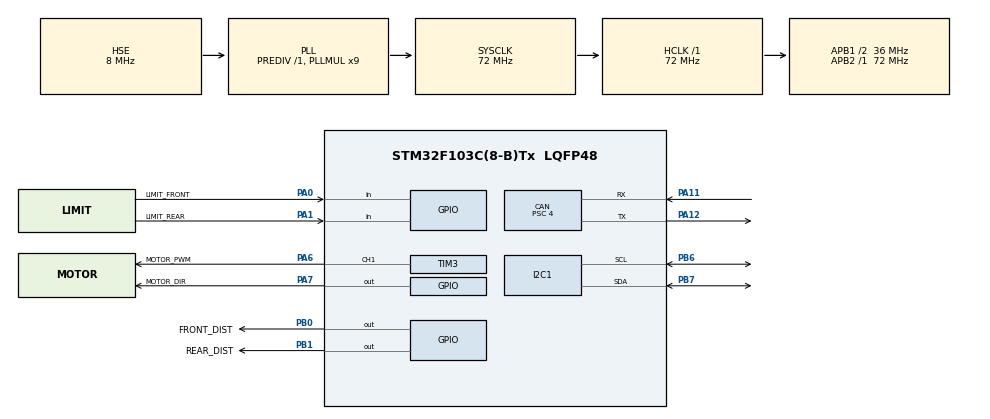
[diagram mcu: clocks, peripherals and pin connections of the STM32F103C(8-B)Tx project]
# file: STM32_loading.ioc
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CAN.BS1=CAN_BS1_13TQ
CAN.BS2=CAN_BS2_4TQ
CAN.CalculateBaudRate=500000
CAN.CalculateTimeBit=2000
CAN.CalculateTimeQuantum=111.11111111111111
CAN.Prescaler=4
I2C1.I2C_Mode=I2C_Fast
Mcu.Family=STM32F1
Mcu.Name=STM32F103C(8-B)Tx
Mcu.Package=LQFP48
NVIC.CAN1_RX1_IRQn=true\:0\:0\:false\:false\:true\:true\:true\:true
NVIC.PriorityGroup=NVIC_PRIORITYGROUP_4
PA0-WKUP.GPIO_Label=LIMIT_FRONT
PA0-WKUP.GPIO_PuPd=GPIO_PULLUP
PA0-WKUP.Signal=GPIO_Input
PA1.GPIO_Label=LIMIT_REAR
PA1.GPIO_PuPd=GPIO_PULLUP
PA1.Signal=GPIO_Input
PA11.Mode=CAN_Activate
PA11.Signal=CAN_RX
PA12.Mode=CAN_Activate
PA12.Signal=CAN_TX
PA13.Mode=Serial_Wire
PA13.Signal=SYS_JTMS-SWDIO
PA14.Mode=Serial_Wire
PA14.Signal=SYS_JTCK-SWCLK
PA6.GPIO_Label=MOTOR_PWM
PA6.Signal=S_TIM3_CH1
PA7.GPIO_Label=MOTOR_DIR
PA7.Signal=GPIO_Output
PB0.GPIO_Label=FRONT_DIST
PB0.Signal=GPIO_Output
PB1.GPIO_Label=REAR_DIST
PB1.Signal=GPIO_Output
PB6.Mode=I2C
PB6.Signal=I2C1_SCL
PB7.Mode=I2C
PB7.Signal=I2C1_SDA
PD0-OSC_IN.Mode=HSE-External-Oscillator
PD0-OSC_IN.Signal=RCC_OSC_IN
PD1-OSC_OUT.Mode=HSE-External-Oscillator
PD1-OSC_OUT.Signal=RCC_OSC_OUT
ProjectManager.HeapSize=0x200
ProjectManager.StackSize=0x400
ProjectManager.TargetToolchain=STM32CubeIDE
RCC.AHBFreq_Value=72000000
RCC.APB1CLKDivider=RCC_HCLK_DIV2
RCC.APB1Freq_Value=36000000
RCC.APB1TimFreq_Value=72000000
RCC.APB2Freq_Value=72000000
RCC.APB2TimFreq_Value=72000000
RCC.DATA_CACHE_ENABLE=1
RCC.HCLKFreq_Value=72000000
RCC.INSTRUCTION_CACHE_ENABLE=1
RCC.PLLMUL=RCC_PLL_MUL9
RCC.PLLSourceVirtual=RCC_PLLSOURCE_HSE
RCC.PWR_Regulator_Voltage_Scale=PWR_REGULATOR_VOLTAGE_SCALE1
RCC.SYSCLKFreq_VALUE=72000000
RCC.SYSCLKSource=RCC_SYSCLKSOURCE_PLLCLK
RCC.USBFreq_Value=72000000
SH.S_TIM3_CH1.0=TIM3_CH1,PWM Generation1 CH1
TIM3.Channel-PWM\ Generation1\ CH1=TIM_CHANNEL_1
TIM3.Period=999
TIM3.Prescaler=71
board=custom

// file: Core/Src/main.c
/* USER CODE BEGIN Header */
/**
  ******************************************************************************
  * @file           : main.c
  * @brief          : Main program body
  ******************************************************************************
  * @attention
  *
  * Copyright (c) 2025 STMicroelectronics.
  * All rights reserved.
  *
  * This software is licensed under terms that can be found in the LICENSE file
  * in the root directory of this software component.
  * If no LICENSE file comes with this software, it is provided AS-IS.
  *
  ******************************************************************************
  */
/* USER CODE END Header */
#include "main.h"

/* USER CODE BEGIN Includes */
#include <string.h>
#include <stdio.h>
#include <math.h>

// VL53L0X ST API (your folder structure)
#include "vl53l0x_api.h"
#include "vl53l0x_platform.h"
/* USER CODE END Includes */

CAN_HandleTypeDef hcan;

I2C_HandleTypeDef hi2c1;

TIM_HandleTypeDef htim3;

/* USER CODE BEGIN PV */
/* =========================
 * User configurable defines
 * ========================= */

// ---- CAN IDs (example) ----
// STM32_main  -> STM32_loading : command
#define CAN_ID_CMD_STD        (0x201)

// Optional: STM32_loading -> STM32_main : status (if you want)
#define CAN_ID_STATUS_STD     (0x202)

// ---- VL53L0X I2C addresses ----
// ST API often uses 8-bit address (7-bit << 1).
// Default is commonly 0x52 (0x29<<1).
#define VL53L0X_ADDR_DEFAULT_8BIT   (0x52)
#define VL53L0X_ADDR_FRONT_8BIT     (0x30 << 1)   // 0x60
#define VL53L0X_ADDR_REAR_8BIT      (0x31 << 1)   // 0x62

// ---- Loader parameters (from your Arduino code) ----
static const int   DIST_THRESHOLD_CM        = 5;
static const float LOAD_PUSH_CM_12          = 6.0f;
static const float UNLOAD_PUSH_CM_3         = 5.5f;
static const float UNLOAD_PUSH_CM_2         = 8.7f;
static const float PUSH_DELTA_TOL_CM        = 0.3f;
static const uint32_t MAX_PUSH_TIME_MS      = 4000U;
static const uint32_t ACTION_COOLDOWN_MS    = 200U;
static const uint32_t LIMIT_DEBOUNCE_MS     = 20U;
static uint32_t boxDetectStartTick = 0;
static uint8_t isWaitingBox = 0;

// PWM speed (0~255 like Arduino)
static const uint8_t MOTOR_SPEED_FWD = 250;
static const uint8_t MOTOR_SPEED_REV = 180;

// ---- Active level ----
#define LIMIT_ACTIVE_STATE    (0)   // Active LOW

// ---- XSHUT pins (you named XSHUT as DIST pins) ----
#define XSHUT_FRONT_GPIO_Port   FRONT_DIST_GPIO_Port
#define XSHUT_FRONT_Pin         FRONT_DIST_Pin
#define XSHUT_REAR_GPIO_Port    REAR_DIST_GPIO_Port
#define XSHUT_REAR_Pin          REAR_DIST_Pin

/* =========================
 * State machine types
 * ========================= */
typedef enum {
  MODE_NONE      = 0,
  MODE_LOADING   = 1,
  MODE_UNLOADING = 2
} WorkMode;

typedef enum {
  ST_IDLE = 0,
  ST_HOME_BACK,
  ST_WAIT_READY,
  ST_MOVE_FWD,
  ST_MOVE_REV,
  ST_COMPLETE
} MotionState;

typedef enum {
  HC_IDLE    = 0,   // 0: go home(rear limit) & idle
  HC_LOADING = 1    // 1: auto loading
} HighCmdMode;

typedef enum {
  PUSH_STOP_NONE = 0,
  PUSH_STOP_DELTA,
  PUSH_STOP_FRONT_LIMIT
} PushStopMode;

/* =========================
 * Globals
 * ========================= */
static volatile uint8_t g_cmd_pending = 0;
static volatile uint8_t g_last_cmd = 0;

static CAN_RxHeaderTypeDef g_rxh;
static uint8_t g_rxData[8];

// VL53L0X device structs
static VL53L0X_Dev_t g_tof_front;
static VL53L0X_Dev_t g_tof_rear;

static uint8_t frontTofOk = 0;
static uint8_t rearTofOk  = 0;

static float frontDistCm = 999.0f;
static float rearDistCm  = 999.0f;

// box logic
static WorkMode    mode  = MODE_NONE;
static MotionState state = ST_IDLE;
static HighCmdMode highCmdMode = HC_LOADING;

static PushStopMode pushStopMode = PUSH_STOP_NONE;
static float targetDeltaCm = 0.0f;

static int currentCount = 0; // 0~3
static uint8_t boxesBeforeAction = 0;

static uint8_t errorFlag = 0;

static uint32_t lastActionMs   = 0;
static uint32_t lastLimitHitMs = 0;
static uint32_t moveFwdStartMs = 0;

static uint8_t rearPushValid = 0;
static float   rearPushStartCm = 0.0f;

// sensor update
static uint32_t lastSensorReadMs = 0;
static const uint32_t SENSOR_READ_INTERVAL_MS = 50U;
/* USER CODE END PV */

void SystemClock_Config(void);
static void MX_GPIO_Init(void);
static void MX_CAN_Init(void);
static void MX_I2C1_Init(void);
static void MX_TIM3_Init(void);
/* USER CODE BEGIN PFP */
// ---- CAN helpers ----
static void CAN_FilterOnly_StdId_FIFO0(uint16_t stdId);
static void CAN_StartRxInterrupt(void);

// ---- Motor helpers ----
static void motorSetPwm1000(uint16_t pwmValue);
static void motorForward(void);
static void motorReverse(void);
static void motorStop(void);

// ---- Limit helpers ----
static uint8_t isFrontLimitActive(void);
static uint8_t isRearLimitActive(void);
static uint8_t limitDebounced(void);

// ---- VL53L0X helpers ----
static void ToF_PowerDownAll(void);
static void ToF_PowerUpFrontOnly(void);
static void ToF_PowerUpRearOnly(void);

static uint8_t ToF_InitOne(VL53L0X_Dev_t* dev, uint8_t addr8bit);
static uint8_t ToF_SetAddress(VL53L0X_Dev_t* dev, uint8_t newAddr8bit);
static float   ToF_ReadCmOnce(VL53L0X_Dev_t* dev);

static void initToFSensorsDual(void);
static void updateDistancesPeriodic(void);

// ---- Loader logic ----
static void setErrorSimple(void);
static void clearError(void);

static void configurePushProfile(void);
static void onActionCompleteUpdateCounts(void);

static void handleStateHomeBack(void);
static void handleStateWaitReady(void);
static void handleStateMoveFwd(void);
static void handleStateMoveRev(void);
static void handleStateComplete(void);

static void stepStateMachine(void);
static void applyCommand(uint8_t cmd);
/* USER CODE END PFP */

int main(void)
{

  /* MCU Configuration--------------------------------------------------------*/

  /* Reset of all peripherals, Initializes the Flash interface and the Systick. */
  HAL_Init();

  /* Configure the system clock */
  SystemClock_Config();

  /* Initialize all configured peripherals */
  MX_GPIO_Init();
  MX_CAN_Init();
  MX_I2C1_Init();
  MX_TIM3_Init();
  /* USER CODE BEGIN 2 */
  // Start PWM
  HAL_TIM_PWM_Start(&htim3, TIM_CHANNEL_1);
  motorStop();

  // CAN start + filter
  CAN_FilterOnly_StdId_FIFO0(CAN_ID_CMD_STD);
  CAN_StartRxInterrupt();

  // Dual VL53L0X init
  initToFSensorsDual();

  lastActionMs = HAL_GetTick();
  /* USER CODE END 2 */

  /* Infinite loop */
  while (1)
  {

    /* USER CODE BEGIN 3 */
	// (1) Apply CAN command if received
	if (g_cmd_pending) {
	  uint8_t cmd = g_last_cmd;
	  g_cmd_pending = 0;
	  applyCommand(cmd);
	}

	// (2) Safety if error
	if (errorFlag) {
	  motorStop();
	  HAL_Delay(10);
	  continue;
	}

	// (3) Update sensors
	updateDistancesPeriodic();

	// (4) Run state machine
	stepStateMachine();
  }
  /* USER CODE END 3 */
}

void SystemClock_Config(void)
{
  RCC_OscInitTypeDef RCC_OscInitStruct = {0};
  RCC_ClkInitTypeDef RCC_ClkInitStruct = {0};

  /** Initializes the RCC Oscillators according to the specified parameters
  * in the RCC_OscInitTypeDef structure.
  */
  RCC_OscInitStruct.OscillatorType = RCC_OSCILLATORTYPE_HSE;
  RCC_OscInitStruct.HSEState = RCC_HSE_ON;
  RCC_OscInitStruct.HSEPredivValue = RCC_HSE_PREDIV_DIV1;
  RCC_OscInitStruct.HSIState = RCC_HSI_ON;
  RCC_OscInitStruct.PLL.PLLState = RCC_PLL_ON;
  RCC_OscInitStruct.PLL.PLLSource = RCC_PLLSOURCE_HSE;
  RCC_OscInitStruct.PLL.PLLMUL = RCC_PLL_MUL9;
  if (HAL_RCC_OscConfig(&RCC_OscInitStruct) != HAL_OK)
  {
    Error_Handler();
  }

  /** Initializes the CPU, AHB and APB buses clocks
  */
  RCC_ClkInitStruct.ClockType = RCC_CLOCKTYPE_HCLK|RCC_CLOCKTYPE_SYSCLK
                              |RCC_CLOCKTYPE_PCLK1|RCC_CLOCKTYPE_PCLK2;
  RCC_ClkInitStruct.SYSCLKSource = RCC_SYSCLKSOURCE_PLLCLK;
  RCC_ClkInitStruct.AHBCLKDivider = RCC_SYSCLK_DIV1;
  RCC_ClkInitStruct.APB1CLKDivider = RCC_HCLK_DIV2;
  RCC_ClkInitStruct.APB2CLKDivider = RCC_HCLK_DIV1;

  if (HAL_RCC_ClockConfig(&RCC_ClkInitStruct, FLASH_LATENCY_2) != HAL_OK)
  {
    Error_Handler();
  }
}

static void MX_CAN_Init(void)
{

  hcan.Instance = CAN1;
  hcan.Init.Prescaler = 4;
  hcan.Init.Mode = CAN_MODE_NORMAL;
  hcan.Init.SyncJumpWidth = CAN_SJW_1TQ;
  hcan.Init.TimeSeg1 = CAN_BS1_13TQ;
  hcan.Init.TimeSeg2 = CAN_BS2_4TQ;
  hcan.Init.TimeTriggeredMode = DISABLE;
  hcan.Init.AutoBusOff = DISABLE;
  hcan.Init.AutoWakeUp = DISABLE;
  hcan.Init.AutoRetransmission = DISABLE;
  hcan.Init.ReceiveFifoLocked = DISABLE;
  hcan.Init.TransmitFifoPriority = DISABLE;
  if (HAL_CAN_Init(&hcan) != HAL_OK)
  {
    Error_Handler();
  }

}

static void MX_I2C1_Init(void)
{

  hi2c1.Instance = I2C1;
  hi2c1.Init.ClockSpeed = 400000;
  hi2c1.Init.DutyCycle = I2C_DUTYCYCLE_2;
  hi2c1.Init.OwnAddress1 = 0;
  hi2c1.Init.AddressingMode = I2C_ADDRESSINGMODE_7BIT;
  hi2c1.Init.DualAddressMode = I2C_DUALADDRESS_DISABLE;
  hi2c1.Init.OwnAddress2 = 0;
  hi2c1.Init.GeneralCallMode = I2C_GENERALCALL_DISABLE;
  hi2c1.Init.NoStretchMode = I2C_NOSTRETCH_DISABLE;
  if (HAL_I2C_Init(&hi2c1) != HAL_OK)
  {
    Error_Handler();
  }

}

static void MX_TIM3_Init(void)
{

  TIM_MasterConfigTypeDef sMasterConfig = {0};
  TIM_OC_InitTypeDef sConfigOC = {0};

  htim3.Instance = TIM3;
  htim3.Init.Prescaler = 71;
  htim3.Init.CounterMode = TIM_COUNTERMODE_UP;
  htim3.Init.Period = 999;
  htim3.Init.ClockDivision = TIM_CLOCKDIVISION_DIV1;
  htim3.Init.AutoReloadPreload = TIM_AUTORELOAD_PRELOAD_DISABLE;
  if (HAL_TIM_PWM_Init(&htim3) != HAL_OK)
  {
    Error_Handler();
  }
  sMasterConfig.MasterOutputTrigger = TIM_TRGO_RESET;
  sMasterConfig.MasterSlaveMode = TIM_MASTERSLAVEMODE_DISABLE;
  if (HAL_TIMEx_MasterConfigSynchronization(&htim3, &sMasterConfig) != HAL_OK)
  {
    Error_Handler();
  }
  sConfigOC.OCMode = TIM_OCMODE_PWM1;
  sConfigOC.Pulse = 0;
  sConfigOC.OCPolarity = TIM_OCPOLARITY_HIGH;
  sConfigOC.OCFastMode = TIM_OCFAST_DISABLE;
  if (HAL_TIM_PWM_ConfigChannel(&htim3, &sConfigOC, TIM_CHANNEL_1) != HAL_OK)
  {
    Error_Handler();
  }
  HAL_TIM_MspPostInit(&htim3);

}

static void MX_GPIO_Init(void)
{
  GPIO_InitTypeDef GPIO_InitStruct = {0};

  /* GPIO Ports Clock Enable */
  __HAL_RCC_GPIOD_CLK_ENABLE();
  __HAL_RCC_GPIOA_CLK_ENABLE();
  __HAL_RCC_GPIOB_CLK_ENABLE();

  /*Configure GPIO pin Output Level */
  HAL_GPIO_WritePin(MOTOR_DIR_GPIO_Port, MOTOR_DIR_Pin, GPIO_PIN_RESET);

  /*Configure GPIO pin Output Level */
  HAL_GPIO_WritePin(GPIOB, FRONT_DIST_Pin|REAR_DIST_Pin, GPIO_PIN_RESET);

  /*Configure GPIO pins : LIMIT_FRONT_Pin LIMIT_REAR_Pin */
  GPIO_InitStruct.Pin = LIMIT_FRONT_Pin|LIMIT_REAR_Pin;
  GPIO_InitStruct.Mode = GPIO_MODE_INPUT;
  GPIO_InitStruct.Pull = GPIO_PULLUP;
  HAL_GPIO_Init(GPIOA, &GPIO_InitStruct);

  /*Configure GPIO pin : MOTOR_DIR_Pin */
  GPIO_InitStruct.Pin = MOTOR_DIR_Pin;
  GPIO_InitStruct.Mode = GPIO_MODE_OUTPUT_PP;
  GPIO_InitStruct.Pull = GPIO_NOPULL;
  GPIO_InitStruct.Speed = GPIO_SPEED_FREQ_LOW;
  HAL_GPIO_Init(MOTOR_DIR_GPIO_Port, &GPIO_InitStruct);

  /*Configure GPIO pins : FRONT_DIST_Pin REAR_DIST_Pin */
  GPIO_InitStruct.Pin = FRONT_DIST_Pin|REAR_DIST_Pin;
  GPIO_InitStruct.Mode = GPIO_MODE_OUTPUT_PP;
  GPIO_InitStruct.Pull = GPIO_NOPULL;
  GPIO_InitStruct.Speed = GPIO_SPEED_FREQ_LOW;
  HAL_GPIO_Init(GPIOB, &GPIO_InitStruct);

}

/* USER CODE BEGIN 4 */
/* =========================
 * CAN
 * ========================= */

static void CAN_FilterOnly_StdId_FIFO0(uint16_t stdId)
{
  CAN_FilterTypeDef f = {0};

  f.FilterBank = 0;
  f.FilterFIFOAssignment = CAN_FILTER_FIFO0;
  f.FilterActivation = ENABLE;

  // 16-bit scale, IDMASK
  f.FilterMode  = CAN_FILTERMODE_IDMASK;
  f.FilterScale = CAN_FILTERSCALE_16BIT;

  // StdId aligned at bit 5 in FilterIdHigh for 16-bit
  uint16_t id = (uint16_t)(stdId << 5);
  f.FilterIdHigh     = id;
  f.FilterIdLow      = 0;
  f.FilterMaskIdHigh = 0xFFE0; // match all 11-bit IDs exactly
  f.FilterMaskIdLow  = 0;

  if (HAL_CAN_ConfigFilter(&hcan, &f) != HAL_OK) {
    Error_Handler();
  }
}

static void CAN_StartRxInterrupt(void)
{
  if (HAL_CAN_Start(&hcan) != HAL_OK) {
    Error_Handler();
  }

  if (HAL_CAN_ActivateNotification(&hcan, CAN_IT_RX_FIFO0_MSG_PENDING) != HAL_OK) {
    Error_Handler();
  }
}

void HAL_CAN_RxFifo0MsgPendingCallback(CAN_HandleTypeDef *hcanx)
{
  if (hcanx->Instance != CAN1) return;

  if (HAL_CAN_GetRxMessage(hcanx, CAN_RX_FIFO0, &g_rxh, g_rxData) != HAL_OK)
    return;

  if (g_rxh.IDE != CAN_ID_STD) return;
  if (g_rxh.StdId != CAN_ID_CMD_STD) return;
  if (g_rxh.DLC < 1) return;

  // Command in byte0 : 0/1/2 (same as Arduino UART command)
  g_last_cmd = g_rxData[0];
  g_cmd_pending = 1;
}

/* =========================
 * Motor / Limit
 * ========================= */

static void motorSetPwm1000(uint16_t pwmValue)
{
    // ARR이 999이므로 최대값은 1000입니다.
    if (pwmValue > 1000) pwmValue = 1000;
    __HAL_TIM_SET_COMPARE(&htim3, TIM_CHANNEL_1, pwmValue);
}

static void motorForward(void)
{
  HAL_GPIO_WritePin(MOTOR_DIR_GPIO_Port, MOTOR_DIR_Pin, GPIO_PIN_RESET);
  motorSetPwm1000(MOTOR_SPEED_FWD * 4);
}

static void motorReverse(void)
{
  HAL_GPIO_WritePin(MOTOR_DIR_GPIO_Port, MOTOR_DIR_Pin, GPIO_PIN_SET);
  motorSetPwm1000(1000 - (MOTOR_SPEED_REV * 4));
}

static void motorStop(void)
{
	motorSetPwm1000(0);
}

static uint8_t isFrontLimitActive(void)
{
  return (HAL_GPIO_ReadPin(LIMIT_FRONT_GPIO_Port, LIMIT_FRONT_Pin) == LIMIT_ACTIVE_STATE);
}

static uint8_t isRearLimitActive(void)
{
  return (HAL_GPIO_ReadPin(LIMIT_REAR_GPIO_Port, LIMIT_REAR_Pin) == LIMIT_ACTIVE_STATE);
}

static uint8_t limitDebounced(void)
{
  uint32_t now = HAL_GetTick();
  if ((now - lastLimitHitMs) < LIMIT_DEBOUNCE_MS) return 0;
  lastLimitHitMs = now;
  return 1;
}

/* =========================
 * VL53L0X (Dual)
 * ========================= */

static void ToF_PowerDownAll(void)
{
  HAL_GPIO_WritePin(XSHUT_FRONT_GPIO_Port, XSHUT_FRONT_Pin, GPIO_PIN_RESET);
  HAL_GPIO_WritePin(XSHUT_REAR_GPIO_Port,  XSHUT_REAR_Pin,  GPIO_PIN_RESET);
  HAL_Delay(10);
}

static void ToF_PowerUpFrontOnly(void)
{
  HAL_GPIO_WritePin(XSHUT_REAR_GPIO_Port,  XSHUT_REAR_Pin,  GPIO_PIN_RESET);
  HAL_GPIO_WritePin(XSHUT_FRONT_GPIO_Port, XSHUT_FRONT_Pin, GPIO_PIN_SET);
  HAL_Delay(10);
}

static void ToF_PowerUpRearOnly(void)
{
  HAL_GPIO_WritePin(XSHUT_FRONT_GPIO_Port, XSHUT_FRONT_Pin, GPIO_PIN_RESET);
  HAL_GPIO_WritePin(XSHUT_REAR_GPIO_Port,  XSHUT_REAR_Pin,  GPIO_PIN_SET);
  HAL_Delay(10);
}

static uint8_t ToF_InitOne(VL53L0X_Dev_t* dev, uint8_t addr8bit)
{
  VL53L0X_Error st;
  VL53L0X_DeviceInfo_t info;

  memset(dev, 0, sizeof(*dev));

  // This depends on your platform layer definition.
  // Common fields:
  dev->I2cDevAddr = addr8bit;

  st = VL53L0X_GetDeviceInfo(dev, &info);
  if (st != VL53L0X_ERROR_NONE) return 0;

  st = VL53L0X_DataInit(dev);
  if (st != VL53L0X_ERROR_NONE) return 0;

  st = VL53L0X_StaticInit(dev);
  if (st != VL53L0X_ERROR_NONE) return 0;

  // Basic calibration sequence (recommended by ST examples)
  uint8_t VhvSettings = 0;
  uint8_t PhaseCal = 0;
  st = VL53L0X_PerformRefCalibration(dev, &VhvSettings, &PhaseCal);
  if (st != VL53L0X_ERROR_NONE) return 0;

  uint32_t refSpadCount = 0;
  uint8_t isApertureSpads = 0;
  st = VL53L0X_PerformRefSpadManagement(dev, &refSpadCount, &isApertureSpads);
  if (st != VL53L0X_ERROR_NONE) return 0;

  st = VL53L0X_SetDeviceMode(dev, VL53L0X_DEVICEMODE_SINGLE_RANGING);
  if (st != VL53L0X_ERROR_NONE) return 0;

  // Optional timing budget
  (void)VL53L0X_SetMeasurementTimingBudgetMicroSeconds(dev, 33000);

  return 1;
}

static uint8_t ToF_SetAddress(VL53L0X_Dev_t* dev, uint8_t newAddr8bit)
{
  VL53L0X_Error st = VL53L0X_SetDeviceAddress(dev, newAddr8bit);
  if (st != VL53L0X_ERROR_NONE) return 0;

  // Update local handle
  dev->I2cDevAddr = newAddr8bit;
  return 1;
}

static float ToF_ReadCmOnce(VL53L0X_Dev_t* dev)
{
  VL53L0X_RangingMeasurementData_t m;
  VL53L0X_Error st = VL53L0X_PerformSingleRangingMeasurement(dev, &m);
  if (st != VL53L0X_ERROR_NONE) return 999.0f;

  // RangeStatus: 0 means valid (most commonly)
  if (m.RangeStatus != 0) return 999.0f;

  return ((float)m.RangeMilliMeter) / 10.0f;
}

static void initToFSensorsDual(void)
{
  frontTofOk = 0;
  rearTofOk  = 0;

  ToF_PowerDownAll();

  // (1) Front only -> init at default -> set new address 0x30
  ToF_PowerUpFrontOnly();
  frontTofOk = ToF_InitOne(&g_tof_front, VL53L0X_ADDR_DEFAULT_8BIT);
  if (frontTofOk) {
    frontTofOk = ToF_SetAddress(&g_tof_front, VL53L0X_ADDR_FRONT_8BIT);
  }

  // (2) Rear only -> init at default -> set new address 0x31
  ToF_PowerUpRearOnly();
  rearTofOk = ToF_InitOne(&g_tof_rear, VL53L0X_ADDR_DEFAULT_8BIT);
  if (rearTofOk) {
    rearTofOk = ToF_SetAddress(&g_tof_rear, VL53L0X_ADDR_REAR_8BIT);
  }

  // (3) Power both ON
  HAL_GPIO_WritePin(XSHUT_FRONT_GPIO_Port, XSHUT_FRONT_Pin, GPIO_PIN_SET);
  HAL_GPIO_WritePin(XSHUT_REAR_GPIO_Port,  XSHUT_REAR_Pin,  GPIO_PIN_SET);
  HAL_Delay(10);

  // Prime first read
  frontDistCm = frontTofOk ? ToF_ReadCmOnce(&g_tof_front) : 999.0f;
  rearDistCm  = rearTofOk  ? ToF_ReadCmOnce(&g_tof_rear)  : 999.0f;
}

static void updateDistancesPeriodic(void)
{
  uint32_t now = HAL_GetTick();
  if ((now - lastSensorReadMs) < SENSOR_READ_INTERVAL_MS) return;
  lastSensorReadMs = now;

  if (frontTofOk) frontDistCm = ToF_ReadCmOnce(&g_tof_front);
  else            frontDistCm = 999.0f;

  if (rearTofOk)  rearDistCm  = ToF_ReadCmOnce(&g_tof_rear);
  else            rearDistCm  = 999.0f;
}

/* =========================
 * Loader logic (ported)
 * ========================= */

static void setErrorSimple(void)
{
  errorFlag = 1;
  motorStop();
  state = ST_IDLE;
  mode = MODE_NONE;
  highCmdMode = HC_IDLE;
}

static void clearError(void)
{
  errorFlag = 0;
}

static void configurePushProfile(void)
{
  boxesBeforeAction = (uint8_t)currentCount;
  pushStopMode      = PUSH_STOP_NONE;
  targetDeltaCm     = 0.0f;

  if (mode == MODE_LOADING) {
    if (boxesBeforeAction == 0 || boxesBeforeAction == 1) {
      pushStopMode  = PUSH_STOP_DELTA;
      targetDeltaCm = LOAD_PUSH_CM_12;
    } else if (boxesBeforeAction == 2) {
      pushStopMode  = PUSH_STOP_NONE;
      targetDeltaCm = 0.0f;
    } else {
      setErrorSimple();
      return;
    }
  } else if (mode == MODE_UNLOADING) {
    if (boxesBeforeAction >= 3) {
      pushStopMode  = PUSH_STOP_DELTA;
      targetDeltaCm = UNLOAD_PUSH_CM_3;
    } else if (boxesBeforeAction == 2) {
      pushStopMode  = PUSH_STOP_DELTA;
      targetDeltaCm = UNLOAD_PUSH_CM_2;
    } else if (boxesBeforeAction == 1) {
      pushStopMode  = PUSH_STOP_FRONT_LIMIT;
      targetDeltaCm = 0.0f;
    } else {
      setErrorSimple();
      return;
    }
  }
}

static void onActionCompleteUpdateCounts(void)
{
  if (mode == MODE_LOADING) {
    currentCount++;
    if (currentCount > 3) currentCount = 3;
    mode = MODE_NONE;
    state = ST_IDLE;
    return;
  }
  if (mode == MODE_UNLOADING) {
    currentCount--;
    if (currentCount < 0) currentCount = 0;
    mode = MODE_NONE;
    state = ST_IDLE;
    return;
  }
  state = ST_IDLE;
}

static void handleStateHomeBack(void)
{
  if (isRearLimitActive()) {
    motorStop();
    state = ST_WAIT_READY;
    lastActionMs = HAL_GetTick();
    return;
  }
  motorReverse();
}

static void handleStateWaitReady(void)
{
  // must be at rear limit
  if (!isRearLimitActive()) {
    state = ST_HOME_BACK;
    lastActionMs = HAL_GetTick();
    return;
  }

  // LOADING: wait for box detection
  if (mode == MODE_LOADING) {
    if (frontDistCm >= (float)DIST_THRESHOLD_CM) {
	  isWaitingBox = 0;
      return;
    }

    if (!isWaitingBox) {
            boxDetectStartTick = HAL_GetTick();
            isWaitingBox = 1;
	}

    if (HAL_GetTick() - boxDetectStartTick < 700) {
            return; // 700ms가 지날 때까지 리턴 (루프는 계속 돔)
	}
    isWaitingBox = 0;
  }

  configurePushProfile();
  if (errorFlag) return;

  // LOADING 3rd box: no forward push
  if (mode == MODE_LOADING && boxesBeforeAction == 2) {
    state = ST_COMPLETE;
    lastActionMs = HAL_GetTick();
    return;
  }

  // rear delta baseline
  if (rearTofOk) {
    rearPushValid   = 1;
    rearPushStartCm = rearDistCm;
  } else {
    rearPushValid = 0;
  }

  motorForward();
  moveFwdStartMs = HAL_GetTick();
  state = ST_MOVE_FWD;
  lastActionMs = HAL_GetTick();
}

static void handleStateMoveFwd(void)
{
  uint32_t now = HAL_GetTick();

  if ((now - moveFwdStartMs) > MAX_PUSH_TIME_MS) {
    setErrorSimple();
    return;
  }

  // safety: front limit
  if (isFrontLimitActive() && limitDebounced()) {
    motorStop();
    HAL_Delay(1000);
    motorReverse();
    state = ST_MOVE_REV;
    lastActionMs = now;
    return;
  }

  if (pushStopMode == PUSH_STOP_DELTA && rearPushValid) {
    float delta = fabsf(rearDistCm - rearPushStartCm);
    if ((delta + PUSH_DELTA_TOL_CM) >= targetDeltaCm) {
      motorStop();
      HAL_Delay(1000);
      motorReverse();
      state = ST_MOVE_REV;
      lastActionMs = now;
      return;
    }
  }

  motorForward();
}

static void handleStateMoveRev(void)
{
  if (isRearLimitActive() && limitDebounced()) {
    motorStop();
    state = ST_COMPLETE;
    lastActionMs = HAL_GetTick();
    return;
  }
  motorReverse();
}

static void handleStateComplete(void)
{
  onActionCompleteUpdateCounts();
  rearPushValid = 0;
  lastActionMs = HAL_GetTick();
}

static void stepStateMachine(void)
{
  uint32_t now = HAL_GetTick();
  if ((now - lastActionMs) < ACTION_COOLDOWN_MS) return;

  // (A) HC_IDLE: always go home to rear limit
  if (mode == MODE_NONE && highCmdMode == HC_IDLE) {
    if (!isRearLimitActive()) motorReverse();
    else motorStop();
    return;
  }

  // (B) idle + HC_LOADING -> auto start loading once
  if (mode == MODE_NONE && state == ST_IDLE) {
    if (highCmdMode == HC_LOADING && currentCount < 3 && isRearLimitActive()) {
      if (frontDistCm < (float)DIST_THRESHOLD_CM) {
        mode = MODE_LOADING;
        state = ST_WAIT_READY;
      }
    }
  }

  // no action -> stop motor
  if (mode == MODE_NONE) {
    motorStop();
    return;
  }

  switch (state) {
    case ST_HOME_BACK:  handleStateHomeBack();   break;
    case ST_WAIT_READY: handleStateWaitReady();  break;
    case ST_MOVE_FWD:   handleStateMoveFwd();    break;
    case ST_MOVE_REV:   handleStateMoveRev();    break;
    case ST_COMPLETE:   handleStateComplete();   break;
    case ST_IDLE:
    default:
      state = isRearLimitActive() ? ST_WAIT_READY : ST_HOME_BACK;
      break;
  }
}

/* =========================
 * Command handling
 * ========================= */

static void applyCommand(uint8_t cmd)
{
  // cmd: 0/1/2 are same meaning with Arduino UART
  if (cmd == 0) {
    highCmdMode = HC_IDLE;
    // do not force reset mode/state; let state machine home it
    return;
  }

  if (cmd == 1) {
    highCmdMode = HC_LOADING;
    return;
  }

  if (cmd == 2) {
    // unload once
    if (mode != MODE_NONE || state != ST_IDLE) return;
    if (currentCount <= 0) return;

    mode = MODE_UNLOADING;
    rearPushValid = 0;
    state = isRearLimitActive() ? ST_WAIT_READY : ST_HOME_BACK;
    return;
  }

  // optional maintenance commands
  if (cmd == 3) { // reset all
    clearError();
    mode = MODE_NONE;
    state = ST_IDLE;
    currentCount = 0;
    rearPushValid = 0;
    highCmdMode = HC_IDLE;
    motorStop();
    return;
  }
}
/* USER CODE END 4 */

void Error_Handler(void)
{
  __disable_irq();
  while (1)
  {
  }
}
